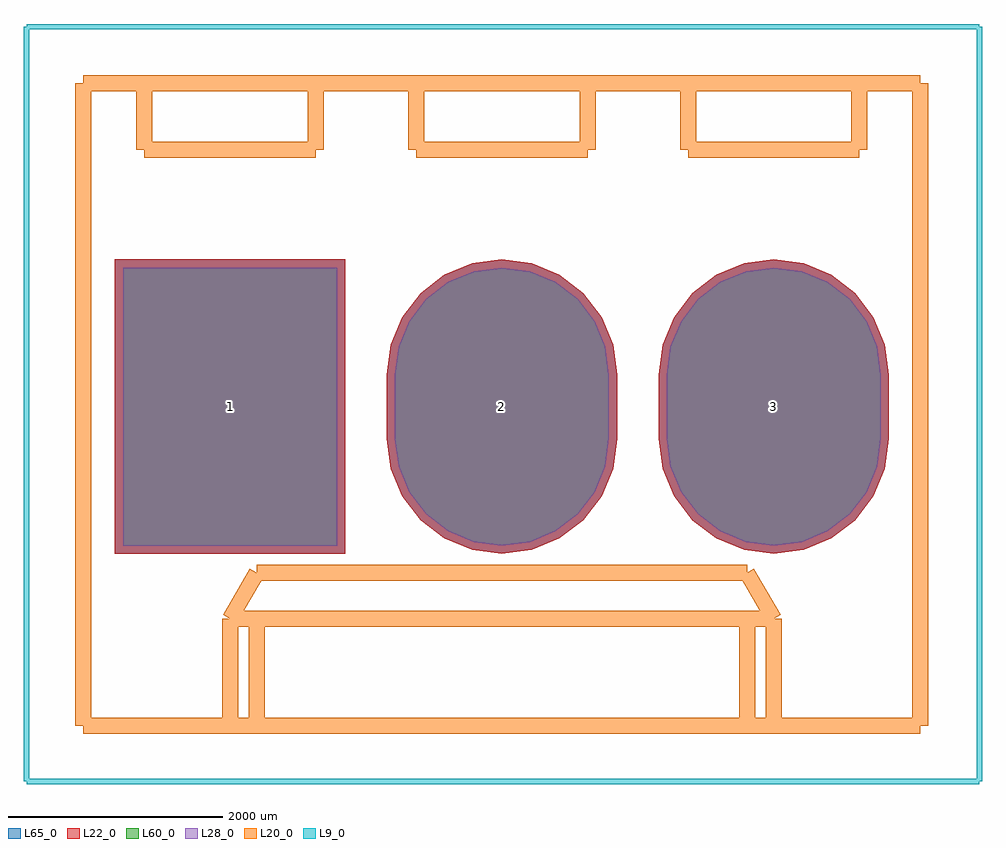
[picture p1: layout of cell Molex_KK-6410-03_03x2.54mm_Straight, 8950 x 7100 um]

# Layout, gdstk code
import gdstk
lib = gdstk.Library(unit=1e-6, precision=1e-09)
def R(c, l, rs):  # rectangles x0, y0, x1, y1
    for r in rs: c.add(gdstk.rectangle(r[:2], r[2:], *l))
def P(c, l, *ps):  # polygons
    for p in ps: c.add(gdstk.Polygon(p, *l))
L9_0 = (9, 0)
L20_0 = (20, 0)
L22_0 = (22, 0)
L28_0 = (28, 0)
L60_0 = (60, 0)
L65_0 = (65, 0)

molex_kk_6410_03_03x2_54 = lib.new_cell('Molex_KK-6410-03_03x2.54mm_Straight')
R(molex_kk_6410_03_03x2_54, L22_0, [(-1075,-1375,1075,1375)])
P(molex_kk_6410_03_03x2_54, L22_0, [(5080,-1375),(5358.23,-1338.37),(5617.5,-1230.977),(5840.14,-1060.14),(6010.977,-837.5),(6118.37,-578.23),(6155,-300),(6155,300),(6118.37,578.23),(6010.977,837.5),(5840.14,1060.14),(5617.5,1230.977),(5358.23,1338.37),(5080,1375),(4801.77,1338.37),(4542.5,1230.977),(4319.86,1060.14),(4149.023,837.5),(4041.63,578.23),(4005,300),(4005,-300),(4041.63,-578.23),(4149.023,-837.5),(4319.86,-1060.14),(4542.5,-1230.977),(4801.77,-1338.37)],
  [(2540,-1375),(2818.23,-1338.37),(3077.5,-1230.977),(3300.14,-1060.14),(3470.977,-837.5),(3578.37,-578.23),(3615,-300),(3615,300),(3578.37,578.23),(3470.977,837.5),(3300.14,1060.14),(3077.5,1230.977),(2818.23,1338.37),(2540,1375),(2261.77,1338.37),(2002.5,1230.977),(1779.86,1060.14),(1609.023,837.5),(1501.63,578.23),(1465,300),(1465,-300),(1501.63,-578.23),(1609.023,-837.5),(1779.86,-1060.14),(2002.5,-1230.977),(2261.77,-1338.37)])
R(molex_kk_6410_03_03x2_54, L28_0, [(-1000,-1300,1000,1300)])
P(molex_kk_6410_03_03x2_54, L28_0, [(5080,-1300),(5338.819,-1265.926),(5580,-1166.025),(5787.107,-1007.107),(5946.025,-800),(6045.926,-558.819),(6080,-300),(6080,300),(6045.926,558.819),(5946.025,800),(5787.107,1007.107),(5580,1166.025),(5338.819,1265.926),(5080,1300),(4821.181,1265.926),(4580,1166.025),(4372.893,1007.107),(4213.975,800),(4114.074,558.819),(4080,300),(4080,-300),(4114.074,-558.819),(4213.975,-800),(4372.893,-1007.107),(4580,-1166.025),(4821.181,-1265.926)],
  [(2540,-1300),(2798.819,-1265.926),(3040,-1166.025),(3247.107,-1007.107),(3406.025,-800),(3505.926,-558.819),(3540,-300),(3540,300),(3505.926,558.819),(3406.025,800),(3247.107,1007.107),(3040,1166.025),(2798.819,1265.926),(2540,1300),(2281.181,1265.926),(2040,1166.025),(1832.893,1007.107),(1673.975,800),(1574.074,558.819),(1540,300),(1540,-300),(1574.074,-558.819),(1673.975,-800),(1832.893,-1007.107),(2040,-1166.025),(2281.181,-1265.926)])
R(molex_kk_6410_03_03x2_54, L60_0, [(-1000,-1300,1000,1300)])
P(molex_kk_6410_03_03x2_54, L60_0, [(5080,-1300),(5338.819,-1265.926),(5580,-1166.025),(5787.107,-1007.107),(5946.025,-800),(6045.926,-558.819),(6080,-300),(6080,300),(6045.926,558.819),(5946.025,800),(5787.107,1007.107),(5580,1166.025),(5338.819,1265.926),(5080,1300),(4821.181,1265.926),(4580,1166.025),(4372.893,1007.107),(4213.975,800),(4114.074,558.819),(4080,300),(4080,-300),(4114.074,-558.819),(4213.975,-800),(4372.893,-1007.107),(4580,-1166.025),(4821.181,-1265.926)],
  [(2540,-1300),(2798.819,-1265.926),(3040,-1166.025),(3247.107,-1007.107),(3406.025,-800),(3505.926,-558.819),(3540,-300),(3540,300),(3505.926,558.819),(3406.025,800),(3247.107,1007.107),(3040,1166.025),(2798.819,1265.926),(2540,1300),(2281.181,1265.926),(2040,1166.025),(1832.893,1007.107),(1673.975,800),(1574.074,558.819),(1540,300),(1540,-300),(1574.074,-558.819),(1673.975,-800),(1832.893,-1007.107),(2040,-1166.025),(2281.181,-1265.926)])
R(molex_kk_6410_03_03x2_54, L65_0, [(-1075,-1375,1075,1375)])
P(molex_kk_6410_03_03x2_54, L65_0, [(5080,-1375),(5358.23,-1338.37),(5617.5,-1230.977),(5840.14,-1060.14),(6010.977,-837.5),(6118.37,-578.23),(6155,-300),(6155,300),(6118.37,578.23),(6010.977,837.5),(5840.14,1060.14),(5617.5,1230.977),(5358.23,1338.37),(5080,1375),(4801.77,1338.37),(4542.5,1230.977),(4319.86,1060.14),(4149.023,837.5),(4041.63,578.23),(4005,300),(4005,-300),(4041.63,-578.23),(4149.023,-837.5),(4319.86,-1060.14),(4542.5,-1230.977),(4801.77,-1338.37)],
  [(2540,-1375),(2818.23,-1338.37),(3077.5,-1230.977),(3300.14,-1060.14),(3470.977,-837.5),(3578.37,-578.23),(3615,-300),(3615,300),(3578.37,578.23),(3470.977,837.5),(3300.14,1060.14),(3077.5,1230.977),(2818.23,1338.37),(2540,1375),(2261.77,1338.37),(2002.5,1230.977),(1779.86,1060.14),(1609.023,837.5),(1501.63,578.23),(1465,300),(1465,-300),(1501.63,-578.23),(1609.023,-837.5),(1779.86,-1060.14),(2002.5,-1230.977),(2261.77,-1338.37)])
molex_kk_6410_03_03x2_54.add(gdstk.FlexPath([(7000,-3500),(-1900,-3500)], 50, ends="flush", simple_path=True, layer=9, datatype=0))  # L9_0
molex_kk_6410_03_03x2_54.add(gdstk.FlexPath([(7000,3550),(7000,-3500)], 50, ends="flush", simple_path=True, layer=9, datatype=0))  # L9_0
molex_kk_6410_03_03x2_54.add(gdstk.FlexPath([(-1900,3550),(7000,3550)], 50, ends="flush", simple_path=True, layer=9, datatype=0))  # L9_0
molex_kk_6410_03_03x2_54.add(gdstk.FlexPath([(-1900,-3500),(-1900,3550)], 50, ends="flush", simple_path=True, layer=9, datatype=0))  # L9_0
molex_kk_6410_03_03x2_54.add(gdstk.FlexPath([(5880,2400),(5880,3020)], 149.998, ends="flush", simple_path=True, layer=20, datatype=0))  # L20_0
molex_kk_6410_03_03x2_54.add(gdstk.FlexPath([(4280,2400),(5880,2400)], 149.998, ends="flush", simple_path=True, layer=20, datatype=0))  # L20_0
molex_kk_6410_03_03x2_54.add(gdstk.FlexPath([(4280,3020),(4280,2400)], 149.998, ends="flush", simple_path=True, layer=20, datatype=0))  # L20_0
molex_kk_6410_03_03x2_54.add(gdstk.FlexPath([(3340,2400),(3340,3020)], 149.998, ends="flush", simple_path=True, layer=20, datatype=0))  # L20_0
molex_kk_6410_03_03x2_54.add(gdstk.FlexPath([(1740,2400),(3340,2400)], 149.998, ends="flush", simple_path=True, layer=20, datatype=0))  # L20_0
molex_kk_6410_03_03x2_54.add(gdstk.FlexPath([(1740,3020),(1740,2400)], 149.998, ends="flush", simple_path=True, layer=20, datatype=0))  # L20_0
molex_kk_6410_03_03x2_54.add(gdstk.FlexPath([(800,2400),(800,3020)], 149.998, ends="flush", simple_path=True, layer=20, datatype=0))  # L20_0
molex_kk_6410_03_03x2_54.add(gdstk.FlexPath([(-800,2400),(800,2400)], 149.998, ends="flush", simple_path=True, layer=20, datatype=0))  # L20_0
molex_kk_6410_03_03x2_54.add(gdstk.FlexPath([(-800,3020),(-800,2400)], 149.998, ends="flush", simple_path=True, layer=20, datatype=0))  # L20_0
molex_kk_6410_03_03x2_54.add(gdstk.FlexPath([(4830,-2980),(4830,-1980)], 149.998, ends="flush", simple_path=True, layer=20, datatype=0))  # L20_0
molex_kk_6410_03_03x2_54.add(gdstk.FlexPath([(250,-2980),(250,-1980)], 149.998, ends="flush", simple_path=True, layer=20, datatype=0))  # L20_0
molex_kk_6410_03_03x2_54.add(gdstk.FlexPath([(4830,-1550),(5080,-1980)], 149.998, ends="flush", simple_path=True, layer=20, datatype=0))  # L20_0
molex_kk_6410_03_03x2_54.add(gdstk.FlexPath([(250,-1550),(4830,-1550)], 149.998, ends="flush", simple_path=True, layer=20, datatype=0))  # L20_0
molex_kk_6410_03_03x2_54.add(gdstk.FlexPath([(0,-1980),(250,-1550)], 149.998, ends="flush", simple_path=True, layer=20, datatype=0))  # L20_0
molex_kk_6410_03_03x2_54.add(gdstk.FlexPath([(5080,-1980),(5080,-2980)], 149.998, ends="flush", simple_path=True, layer=20, datatype=0))  # L20_0
molex_kk_6410_03_03x2_54.add(gdstk.FlexPath([(0,-1980),(5080,-1980)], 149.998, ends="flush", simple_path=True, layer=20, datatype=0))  # L20_0
molex_kk_6410_03_03x2_54.add(gdstk.FlexPath([(0,-2980),(0,-1980)], 149.998, ends="flush", simple_path=True, layer=20, datatype=0))  # L20_0
molex_kk_6410_03_03x2_54.add(gdstk.FlexPath([(6450,3020),(-1370,3020)], 149.998, ends="flush", simple_path=True, layer=20, datatype=0))  # L20_0
molex_kk_6410_03_03x2_54.add(gdstk.FlexPath([(6450,-2980),(6450,3020)], 149.998, ends="flush", simple_path=True, layer=20, datatype=0))  # L20_0
molex_kk_6410_03_03x2_54.add(gdstk.FlexPath([(-1370,-2980),(6450,-2980)], 149.998, ends="flush", simple_path=True, layer=20, datatype=0))  # L20_0
molex_kk_6410_03_03x2_54.add(gdstk.FlexPath([(-1370,3020),(-1370,-2980)], 149.998, ends="flush", simple_path=True, layer=20, datatype=0))  # L20_0
molex_kk_6410_03_03x2_54.add(gdstk.Label('3', (5080,0), layer=28, texttype=0))
molex_kk_6410_03_03x2_54.add(gdstk.Label('2', (2540,0), layer=28, texttype=0))
molex_kk_6410_03_03x2_54.add(gdstk.Label('1', (0,0), layer=28, texttype=0))
molex_kk_6410_03_03x2_54.add(gdstk.Label('type', (2540,-4500), layer=9, texttype=0))
molex_kk_6410_03_03x2_54.add(gdstk.Label('devicename', (1000,4500), layer=9, texttype=0))

lib.write_gds('Molex_KK-6410-03_03x2.54mm_Straight.gds')
